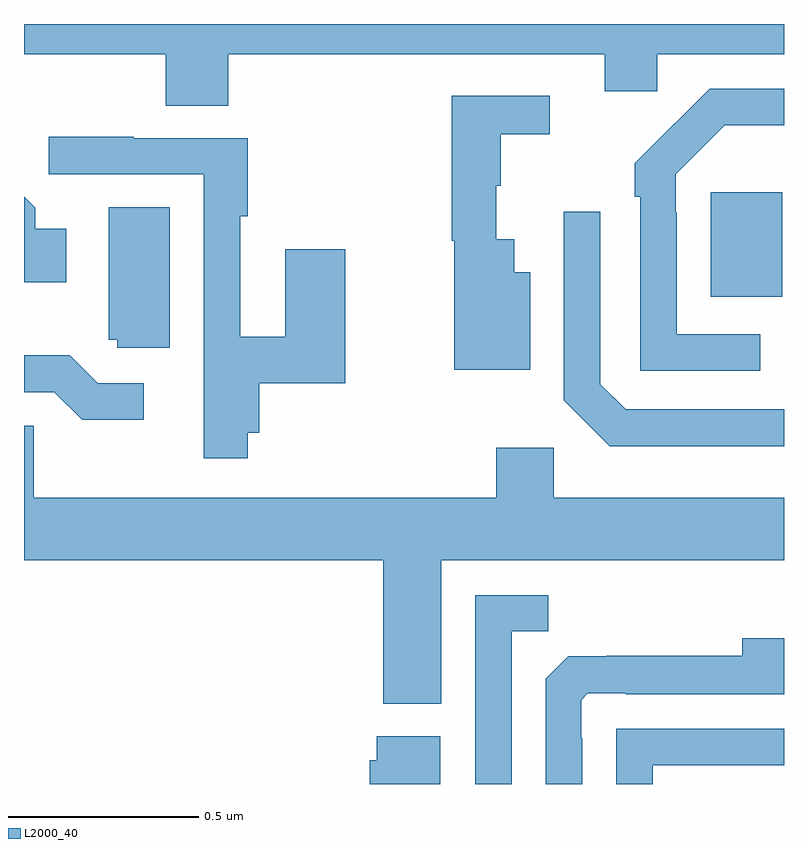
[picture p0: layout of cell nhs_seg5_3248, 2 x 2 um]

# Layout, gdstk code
import gdstk
lib = gdstk.Library(unit=1e-6, precision=1e-09)
def R(c, l, rs):  # rectangles x0, y0, x1, y1
    for r in rs: c.add(gdstk.rectangle(r[:2], r[2:], *l))
def P(c, l, *ps):  # polygons
    for p in ps: c.add(gdstk.Polygon(p, *l))
L2000_40 = (2000, 40)

nhs_seg5_3248 = lib.new_cell('nhs_seg5_3248')
R(nhs_seg5_3248, L2000_40, [(155.807,896.081,155.995,896.356)])
P(nhs_seg5_3248, L2000_40, [(154.538,896.72),(155.528,896.72),(155.528,896.622),(155.667,896.622),(155.667,896.72),(156,896.72),(156,896.799),(154,896.799),(154,896.72),(154.373,896.72),(154.373,896.584),(154.538,896.584)],
  [(155.938,895.983),(155.718,895.983),(155.718,896.303),(155.715,896.303),(155.715,896.403),(155.844,896.532),(156,896.532),(156,896.628),(155.804,896.628),(155.713,896.537),(155.712,896.538),(155.607,896.433),(155.607,896.345),(155.622,896.345),(155.622,895.887),(155.938,895.887)],
  [(155.332,896.146),(155.29,896.146),(155.29,896.233),(155.243,896.233),(155.243,896.373),(155.254,896.373),(155.254,896.509),(155.383,896.509),(155.383,896.61),(155.125,896.61),(155.125,896.229),(155.132,896.229),(155.132,895.889),(155.332,895.889)],
  [(154.589,895.724),(154.619,895.724),(154.619,895.853),(154.846,895.853),(154.846,896.206),(154.688,896.206),(154.688,895.976),(154.569,895.976),(154.569,896.293),(154.589,896.293),(154.589,896.499),(154.289,896.499),(154.289,896.502),(154.065,896.502),(154.065,896.403),(154.473,896.403),(154.473,895.656),(154.589,895.656)],
  [(154.111,896.26),(154.03,896.26),(154.03,896.315),(154,896.345),(154,896.12),(154.111,896.12)],
  [(154.384,896.317),(154.223,896.317),(154.223,895.968),(154.245,895.968),(154.245,895.947),(154.384,895.947)],
  [(156,895.785),(155.583,895.785),(155.517,895.851),(155.517,896.305),(155.421,896.305),(155.421,895.809),(155.542,895.688),(156,895.688)],
  [(154.315,895.854),(154.194,895.854),(154.121,895.927),(154,895.927),(154,895.83),(154.08,895.83),(154.153,895.757),(154.315,895.757)],
  [(155.098,895.388),(156,895.388),(156,895.552),(155.394,895.552),(155.394,895.684),(155.243,895.684),(155.243,895.552),(154.026,895.552),(154.026,895.742),(154,895.742),(154,895.388),(154.946,895.388),(154.946,895.01),(155.098,895.01)],
  [(155.283,895.201),(155.379,895.201),(155.379,895.296),(155.187,895.296),(155.187,894.799),(155.283,894.799)],
  [(155.469,894.92),(155.466,894.92),(155.466,895.02),(155.484,895.038),(155.584,895.038),(155.584,895.035),(156,895.035),(156,895.183),(155.89,895.183),(155.89,895.136),(155.533,895.136),(155.533,895.135),(155.432,895.135),(155.373,895.076),(155.373,894.799),(155.469,894.799)],
  [(155.655,894.849),(156,894.849),(156,894.945),(155.559,894.945),(155.559,894.799),(155.655,894.799)],
  [(155.095,894.925),(154.928,894.925),(154.928,894.861),(154.91,894.861),(154.91,894.799),(155.095,894.799)])

lib.write_gds('nhs_seg5_3248.gds')
